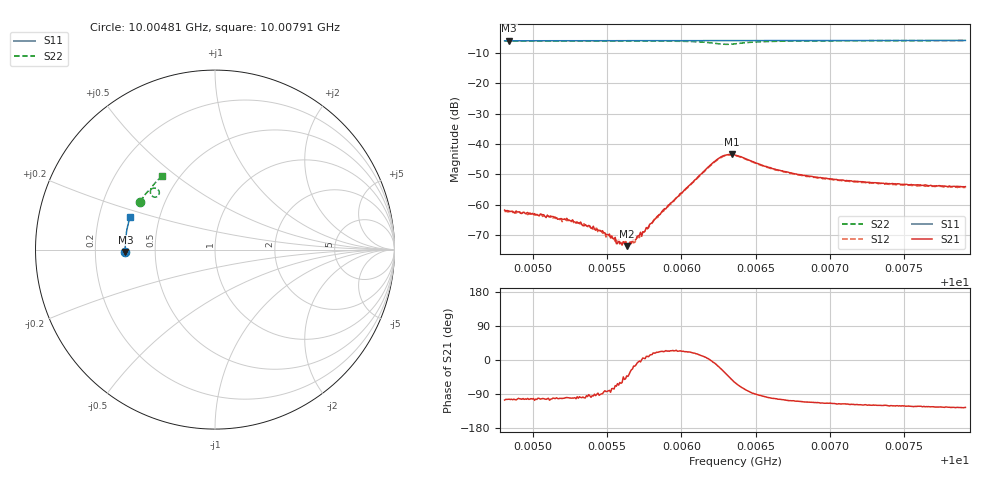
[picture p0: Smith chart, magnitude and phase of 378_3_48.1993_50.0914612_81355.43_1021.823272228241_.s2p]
#  HZ  S  RI  R  50.00
! Rohde & Schwarz Vector Network Analyzer
! Rohde-Schwarz,ZNB20-2Port,1311601062101988,3.16
! Created: UTC 3/20/2024, 11:53:00 AM
! freq[Hz]  re:S11  im:S11  re:S21  im:S21  re:S12  im:S12  re:S22  im:S22
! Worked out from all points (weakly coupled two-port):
!   401 points, 10.00481 GHz to 10.00791 GHz, reference 50 ohm
!   highest |S21| = -43.46 dB at 10.00634 GHz (marker M1); lowest = -73.7 dB at 10.00563 GHz (marker M2)
!   lowest |S11| = -6.0 dB at 10.00484 GHz (marker M3), VSWR 2.99, Z = 16.7 - j0.555 ohm
!   |S11| at or under -10 dB: nowhere
!   |S22| runs from -7.2 to -6.0 dB; largest |S21 - S12| = 0.00039
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1.000481e10  -0.4991 -0.0145  -0.00022 -0.000785  -0.000146 -0.00075  -0.4159 0.2665
1.0004841e10  -0.499 -0.0125  -0.000177 -0.00075  -0.000133 -0.000772  -0.4148 0.2681
1.0005066e10  -0.4997 0.00218  -0.000137 -0.000666  -0.000101 -0.000633  -0.4069 0.2816
1.0005229e10  -0.4999 0.0127  -9.42e-05 -0.000589  -5.45e-05 -0.000544  -0.4006 0.2911
1.000533e10  -0.4999 0.0193  -7.78e-05 -0.000462  -6.55e-05 -0.000494  -0.3964 0.2972
1.0005469e10  -0.4997 0.0282  5.78e-06 -0.000373  4.8e-05 -0.000339  -0.3901 0.3056
1.0005547e10  -0.4996 0.0332  6.37e-05 -0.000267  6.53e-05 -0.000264  -0.3864 0.3103
1.0005578e10  -0.4996 0.0354  0.000107 -0.000244  0.000114 -0.000234  -0.385 0.3123
1.0005632e10  -0.4993 0.0389  0.000155 -0.000138  0.000188 -0.00014  -0.3823 0.3155
1.0005648e10  -0.4993 0.0399  0.000179 -0.000142  0.000186 -0.000133  -0.3813 0.3166
1.0005694e10  -0.4992 0.043  0.000258 -6.04e-05  0.000255 -5.49e-05  -0.3786 0.3194
1.0005749e10  -0.4989 0.0463  0.000353 2.67e-05  0.000352 6.18e-05  -0.3754 0.323
1.0005849e10  -0.4985 0.053  0.00063 0.000244  0.000627 0.000269  -0.3684 0.3294
1.0006214e10  -0.4958 0.0763  0.0049 -0.000507  0.00483 -0.000198  -0.315 0.3312
1.0006276e10  -0.4952 0.0801  0.00561 -0.00281  0.00564 -0.00246  -0.311 0.3103
1.0006338e10  -0.4947 0.0839  0.0042 -0.00524  0.00436 -0.00489  -0.3268 0.2934
1.0006361e10  -0.4945 0.0853  0.00332 -0.00568  0.00357 -0.00539  -0.3351 0.2925
1.0006625e10  -0.4924 0.1021  -0.000762 -0.00378  -0.00059 -0.00375  -0.3586 0.332
1.0006881e10  -0.4893 0.1184  -0.00107 -0.00271  -0.000933 -0.00268  -0.3473 0.3547
1.0007114e10  -0.486 0.133  -0.00112 -0.00224  -0.000976 -0.00224  -0.3358 0.3693
1.0007401e10  -0.4815 0.151  -0.00116 -0.0019  -0.00102 -0.0019  -0.3215 0.3846
1.0007912e10  -0.4714 0.1825  -0.00114 -0.00162  -0.00102 -0.00162  -0.2953 0.4078
